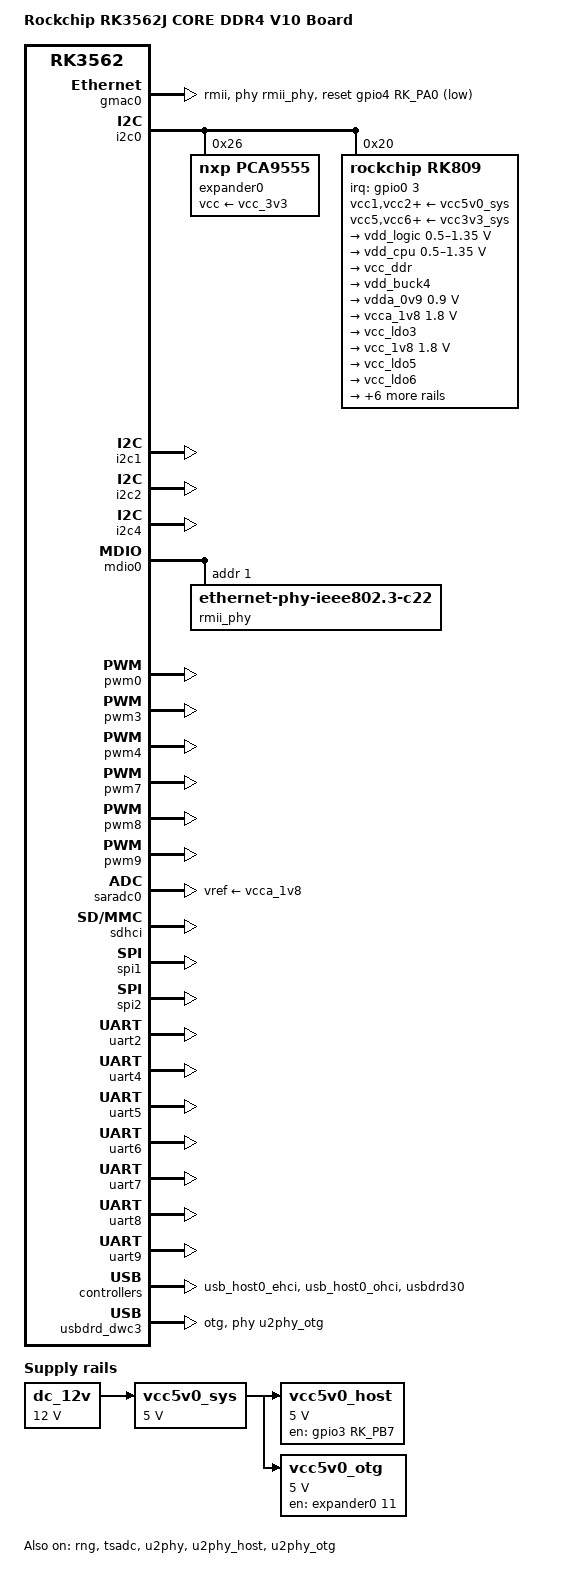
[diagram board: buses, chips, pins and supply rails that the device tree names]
// SPDX-License-Identifier: (GPL-2.0+ OR MIT)
/*
 * Copyright (c) 2023 Rockchip Electronics Co., Ltd.
 *
 */

/dts-v1/;

#include <dt-bindings/gpio/gpio.h>
#include <dt-bindings/pinctrl/rockchip.h>
#include "rk3562j-electric.dtsi"

/ {
	model = "Rockchip RK3562J CORE DDR4 V10 Board";
	compatible = "rockchip,rk3562j-core-ddr4-v10", "rockchip,rk3562";

	chosen: chosen {
		bootargs = "earlycon=uart8250,mmio32,0xff210000 console=ttyFIQ0 root=PARTUUID=614e0000-0000 rw rootwait";
	};

	fiq-debugger {
		compatible = "rockchip,fiq-debugger";
		rockchip,serial-id = <0>;
		rockchip,wake-irq = <0>;
		/* If enable uart uses irq instead of fiq */
		rockchip,irq-mode-enable = <1>;
		rockchip,baudrate = <1500000>;  /* Only 115200 and 1500000 */
		interrupts = <GIC_SPI 242 IRQ_TYPE_LEVEL_HIGH>;
		pinctrl-names = "default";
		pinctrl-0 = <&uart0m0_xfer>;
		status = "okay";
	};

	dc_12v: dc-12v {
		compatible = "regulator-fixed";
		regulator-name = "dc_12v";
		regulator-always-on;
		regulator-boot-on;
		regulator-min-microvolt = <12000000>;
		regulator-max-microvolt = <12000000>;
	};

	vcc5v0_sys: vcc5v0-sys {
		compatible = "regulator-fixed";
		regulator-name = "vcc5v0_sys";
		regulator-always-on;
		regulator-boot-on;
		regulator-min-microvolt = <5000000>;
		regulator-max-microvolt = <5000000>;
		vin-supply = <&dc_12v>;
	};

	vcc5v0_host: vcc5v0-host-regulator {
		compatible = "regulator-fixed";
		regulator-name = "vcc5v0_host";
		regulator-boot-on;
		regulator-always-on;
		regulator-min-microvolt = <5000000>;
		regulator-max-microvolt = <5000000>;
		enable-active-high;
		gpio = <&gpio3 RK_PB7 GPIO_ACTIVE_HIGH>;
		vin-supply = <&vcc5v0_sys>;
		pinctrl-names = "default";
		pinctrl-0 = <&vcc5v0_host_en>;
	};

	vcc5v0_otg: vcc5v0-otg-regulator {
		compatible = "regulator-fixed";
		regulator-name = "vcc5v0_otg";
		regulator-min-microvolt = <5000000>;
		regulator-max-microvolt = <5000000>;
		enable-active-high;
		gpio = <&expander0 11 GPIO_ACTIVE_HIGH>;
		vin-supply = <&vcc5v0_sys>;
	};
};

&combphy_pu {
	status = "disabled";
};

&cpu0 {
	cpu-supply = <&vdd_cpu>;
};

&gmac0 {
	phy-mode = "rmii";
	clock_in_out = "input";

	snps,reset-gpio = <&gpio4 RK_PA0 GPIO_ACTIVE_LOW>;
	snps,reset-active-low;
	/* Reset time is 20ms, 100ms for rtl8211f */
	snps,reset-delays-us = <0 20000 100000>;

	pinctrl-names = "default";
	pinctrl-0 = <&rgmiim0_miim
		     &rgmiim0_tx_bus2
		     &rgmiim0_rx_bus2
		     &rgmiim0_clk>;

	phy-handle = <&rmii_phy>;
	status = "okay";
};

&i2c0 {
	status = "okay";

	expander0: pca953x@26 {
		vcc-supply = <&vcc_3v3>;
		compatible = "nxp,pca9555";
		reg = <0x26>;
		gpio-controller;
		#gpio-cells = <2>;
		status = "okay";
	};

	rk809: pmic@20 {
		compatible = "rockchip,rk809";
		reg = <0x20>;
		interrupt-parent = <&gpio0>;
		interrupts = <3 IRQ_TYPE_LEVEL_LOW>;

		pinctrl-names = "default", "pmic-sleep",
				"pmic-power-off", "pmic-reset";
		pinctrl-0 = <&pmic_int>;
		pinctrl-1 = <&soc_slppin_slp>, <&rk817_slppin_slp>;
		pinctrl-2 = <&soc_slppin_gpio>, <&rk817_slppin_pwrdn>;
		pinctrl-3 = <&soc_slppin_gpio>, <&rk817_slppin_rst>;
		rockchip,system-power-controller;
		wakeup-source;
		#clock-cells = <1>;
		clock-output-names = "rk808-clkout1", "rk808-clkout2";
		/* 1: rst regs (default in codes), 0: rst the pmic */
		pmic-reset-func = <0>;
		/* not save the PMIC_POWER_EN register in uboot */
		not-save-power-en = <1>;

		vcc1-supply = <&vcc5v0_sys>;
		vcc2-supply = <&vcc5v0_sys>;
		vcc3-supply = <&vcc5v0_sys>;
		vcc4-supply = <&vcc5v0_sys>;
		vcc5-supply = <&vcc3v3_sys>;
		vcc6-supply = <&vcc3v3_sys>;
		vcc7-supply = <&vcc3v3_sys>;
		vcc8-supply = <&vcc3v3_sys>;
		vcc9-supply = <&vcc5v0_sys>;

		pwrkey {
			status = "okay";
		};

		pinctrl_rk8xx: pinctrl_rk8xx {
			gpio-controller;
			#gpio-cells = <2>;

			rk817_slppin_null: rk817_slppin_null {
				pins = "gpio_slp";
				function = "pin_fun0";
			};

			rk817_slppin_slp: rk817_slppin_slp {
				pins = "gpio_slp";
				function = "pin_fun1";
			};

			rk817_slppin_pwrdn: rk817_slppin_pwrdn {
				pins = "gpio_slp";
				function = "pin_fun2";
			};

			rk817_slppin_rst: rk817_slppin_rst {
				pins = "gpio_slp";
				function = "pin_fun3";
			};
		};

		regulators {
			vdd_logic: DCDC_REG1 {
				regulator-always-on;
				regulator-boot-on;
				regulator-min-microvolt = <500000>;
				regulator-max-microvolt = <1350000>;
				regulator-init-microvolt = <900000>;
				regulator-ramp-delay = <6001>;
				regulator-initial-mode = <0x2>;
				regulator-name = "vdd_logic";
				regulator-state-mem {
					regulator-off-in-suspend;
				};
			};

			vdd_cpu: DCDC_REG2 {
				regulator-always-on;
				regulator-boot-on;
				regulator-min-microvolt = <500000>;
				regulator-max-microvolt = <1350000>;
				regulator-init-microvolt = <900000>;
				regulator-ramp-delay = <6001>;
				regulator-initial-mode = <0x2>;
				regulator-name = "vdd_cpu";
				regulator-state-mem {
					regulator-off-in-suspend;
				};
			};

			vcc_ddr: DCDC_REG3 {
				regulator-always-on;
				regulator-boot-on;
				regulator-initial-mode = <0x2>;
				regulator-name = "vcc_ddr";
				regulator-state-mem {
					regulator-on-in-suspend;
				};
			};

			vdd_buck4: DCDC_REG4 {
				regulator-ramp-delay = <6001>;
				regulator-initial-mode = <0x2>;
				regulator-name = "vdd_buck4";
				regulator-state-mem {
					regulator-off-in-suspend;
				};
			};

			vdda_0v9: LDO_REG1 {
				regulator-boot-on;
				regulator-always-on;
				regulator-min-microvolt = <900000>;
				regulator-max-microvolt = <900000>;
				regulator-name = "vdda_0v9";
				regulator-state-mem {
					regulator-off-in-suspend;
				};
			};

			vcca_1v8: LDO_REG2 {
				regulator-always-on;
				regulator-boot-on;
				regulator-min-microvolt = <1800000>;
				regulator-max-microvolt = <1800000>;
				regulator-name = "vcca_1v8";
				regulator-state-mem {
					regulator-off-in-suspend;
				};
			};

			vcc_ldo3: LDO_REG3 {
				regulator-name = "vcc_ldo3";
				regulator-state-mem {
					regulator-off-in-suspend;
				};
			};

			vcc_1v8: LDO_REG4 {
				regulator-always-on;
				regulator-boot-on;
				regulator-min-microvolt = <1800000>;
				regulator-max-microvolt = <1800000>;
				regulator-name = "vcc_1v8";
				regulator-state-mem {
					regulator-off-in-suspend;
				};
			};

			vcc_ldo5: LDO_REG5 {
				regulator-name = "vcc_ldo5";
				regulator-state-mem {
					regulator-off-in-suspend;
				};
			};

			vcc_ldo6: LDO_REG6 {
				regulator-name = "vcc_ldo6";
				regulator-state-mem {
					regulator-off-in-suspend;
				};
			};

			vcc_ldo7: LDO_REG7 {
				regulator-name = "vcc_ldo7";
				regulator-state-mem {
					regulator-off-in-suspend;
				};
			};

			vcc_ldo8: LDO_REG8 {
				regulator-name = "vcc_ldo8";
				regulator-state-mem {
					regulator-off-in-suspend;
				};
			};

			vcc_ldo9: LDO_REG9 {
				regulator-name = "vcc_ldo9";
				regulator-state-mem {
					regulator-off-in-suspend;
				};
			};

			vcc3v3_sys: DCDC_REG5 {
				regulator-always-on;
				regulator-boot-on;
				regulator-min-microvolt = <3300000>;
				regulator-max-microvolt = <3300000>;
				regulator-name = "vcc3v3_sys";
				regulator-state-mem {
					regulator-off-in-suspend;
				};
			};

			vcc_sw1: SWITCH_REG1 {
				regulator-name = "vcc_sw1";
				regulator-state-mem {
					regulator-off-in-suspend;
				};
			};

			vcc_3v3: SWITCH_REG2 {
				regulator-always-on;
				regulator-boot-on;
				regulator-name = "vcc_3v3";
				regulator-state-mem {
					regulator-off-in-suspend;
				};
			};
		};
	};
};

&i2c1 {
	status = "okay";
	pinctrl-0 = <&i2c1m0_xfer>;
};

&i2c2 {
	status = "okay";
	pinctrl-0 = <&i2c2m0_xfer>;
};

&i2c4 {
	status = "okay";
	pinctrl-0 = <&i2c4m1_xfer>;
};

&mdio0 {
	rmii_phy: phy@1 {
		compatible = "ethernet-phy-ieee802.3-c22";
		reg = <0x1>;
		clocks = <&cru CLK_GMAC_ETH_OUT2IO>;
		assigned-clocks = <&cru CLK_GMAC_ETH_OUT2IO>;
		assigned-clock-rates = <25000000>;
	};
};

&pinctrl {
	usb {
		vcc5v0_host_en: vcc5v0-host-en {
			rockchip,pins = <3 RK_PB7 RK_FUNC_GPIO &pcfg_pull_none>;
		};
	};
};

&pwm0 {
	status = "okay";
	pinctrl-0 = <&pwm0m1_pins>;
};

&pwm3 {
	status = "okay";
	pinctrl-0 = <&pwm3m0_pins>;
};

&pwm4 {
	status = "okay";
	pinctrl-0 = <&pwm4m0_pins>;
};

&pwm7 {
	status = "okay";
	pinctrl-0 = <&pwm7m0_pins>;
};

&pwm8 {
	status = "okay";
	pinctrl-0 = <&pwm8m0_pins>;
};

&pwm9 {
	status = "okay";
	pinctrl-0 = <&pwm9m0_pins>;
};

&rng {
	status = "okay";
};

&saradc0 {
	status = "okay";
	vref-supply = <&vcca_1v8>;
};

&sdhci {
	status = "okay";
};

&spi1 {
	status = "okay";
	pinctrl-0 = <&spi1m1_csn0 &spi1m1_pins>;
};

&spi2 {
	status = "okay";
	pinctrl-0 = <&spi2m1_csn0 &spi2m1_pins>;
};

&tsadc {
	status = "okay";
};

&u2phy {
	status = "okay";
};

&u2phy_host {
	phy-supply = <&vcc5v0_host>;
	status = "okay";
};

&u2phy_otg {
	vbus-supply = <&vcc5v0_otg>;
	status = "okay";
};

&uart2 {
	status = "okay";
	pinctrl-0 = <&uart2m1_xfer &uart2m1_ctsn &uart2m1_rtsn>;
};

&uart4 {
	status = "okay";
	pinctrl-0 = <&uart4m0_xfer &uart4m0_ctsn &uart4m0_rtsn>;
};

&uart5 {
	status = "okay";
	pinctrl-0 = <&uart5m1_xfer>;
};

&uart6 {
	status = "okay";
	pinctrl-0 = <&uart6m0_xfer>;
};

&uart7 {
	status = "okay";
	pinctrl-0 = <&uart7m0_xfer>;
};

&uart8 {
	status = "okay";
	pinctrl-0 = <&uart8m0_xfer>;
};

&uart9 {
	status = "okay";
	pinctrl-0 = <&uart9m1_xfer>;
};

&usb_host0_ehci {
	status = "okay";
};

&usb_host0_ohci {
	status = "okay";
};

&usbdrd30 {
	status = "okay";
};

&usbdrd_dwc3 {
	status = "okay";
	dr_mode = "otg";
	extcon = <&u2phy>;
	maximum-speed = "high-speed";
	phys = <&u2phy_otg>;
	phy-names = "usb2-phy";
	snps,dis_u2_susphy_quirk;
	snps,usb2-lpm-disable;
};
